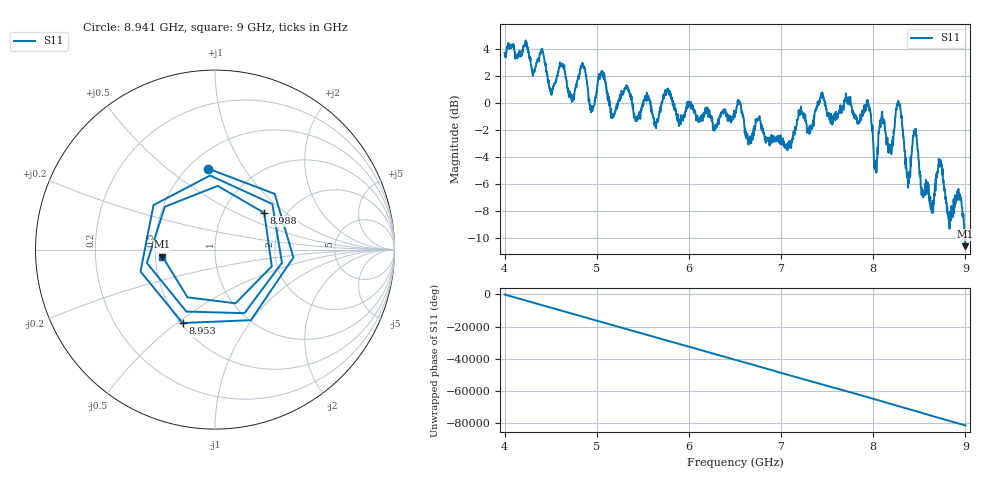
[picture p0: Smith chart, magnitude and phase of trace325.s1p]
! Created with skrf 1.8.0 (http://scikit-rf.org).
# Hz S RI R 50.0
!freq ReS11 ImS11
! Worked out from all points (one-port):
!   1601 points, 4 GHz to 9 GHz, reference 50 ohm
!   lowest |S11| = -10.6 dB at 9 GHz (marker M1), VSWR 1.84, Z = 27.3 - j2.32 ohm
!   |S11| at or under -10 dB: 8.994888 GHz to end of sweep
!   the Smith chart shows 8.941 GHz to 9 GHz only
!   S11 on the Smith chart (normalised r, x): 8.941 GHz: 0.62, +0.70; 8.953 GHz: 0.51, -0.52; 8.988 GHz: 1.55, +0.72; 9 GHz: 0.55, -0.05
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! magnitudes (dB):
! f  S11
! 4 GHz  3.7
! 4.406 GHz  3.9
! 4.506 GHz  0.8
! 4.625 GHz  2.7
! 4.719 GHz  0.6
! 4.847 GHz  2.9
! 4.947 GHz  -0.5
! 5.05 GHz  2.3
! 5.172 GHz  -1.1
! 5.25 GHz  0.6
! 5.875 GHz  -1.2
! 6.5 GHz  -0.6
! 7.125 GHz  -2.6
! 7.75 GHz  0.5
! 7.95 GHz  -0.1
! 8.028 GHz  -4.7
! 8.081 GHz  -1.2
! 8.184 GHz  -3.5
! 8.275 GHz  0.1
! 8.375 GHz  -5.4
! 8.453 GHz  -2.3
! 8.631 GHz  -7.8
! 8.722 GHz  -4.3
! 8.822 GHz  -8.8
! 8.941 GHz  -6.9
! 8.953 GHz  -7.0
! 8.988 GHz  -9.3
! 9 GHz  -10.6
